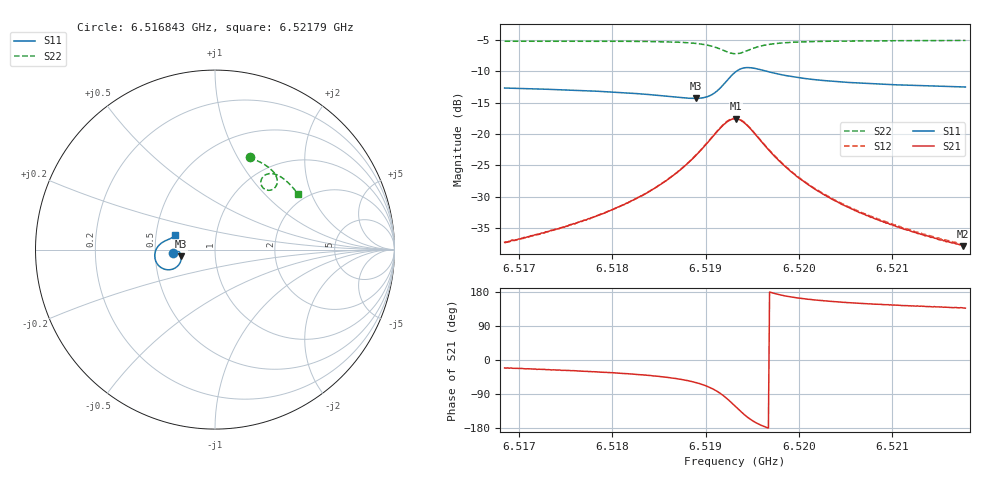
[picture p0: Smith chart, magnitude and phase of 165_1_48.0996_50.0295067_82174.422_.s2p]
#  HZ  S  RI  R  50.00
! Rohde & Schwarz Vector Network Analyzer
! Rohde-Schwarz,ZNB20-2Port,1311601062101988,3.16
! Created: UTC 12/23/2023, 3:51:11 AM
! freq[Hz]  re:S11  im:S11  re:S21  im:S21  re:S12  im:S12  re:S22  im:S22
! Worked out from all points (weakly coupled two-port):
!   401 points, 6.516843 GHz to 6.52179 GHz, reference 50 ohm
!   highest |S21| = -17.58 dB at 6.519329 GHz (marker M1); lowest = -37.9 dB at 6.521765 GHz (marker M2)
!   lowest |S11| = -14.3 dB at 6.518896 GHz (marker M3), VSWR 1.47, Z = 34.1 - j2.57 ohm
!   |S11| at or under -10 dB: start of sweep to 6.519333 GHz; 6.519655 GHz to end of sweep
!   |S22| runs from -7.2 to -5.1 dB; largest |S21 - S12| = 0.0041
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6.5168432e9  -0.2313 -0.0201  0.0128 -0.00488  0.0128 -0.00438  0.1923 0.5132
6.517239e9  -0.2272 -0.0141  0.0147 -0.0068  0.0148 -0.00617  0.2216 0.5016
6.5176718e9  -0.2216 -0.00864  0.0175 -0.00985  0.0179 -0.00934  0.2534 0.4863
6.5180552e9  -0.2145 -0.0061  0.0215 -0.0148  0.0217 -0.0141  0.2821 0.4694
6.5183396e9  -0.2075 -0.00703  0.0253 -0.021  0.026 -0.0202  0.3039 0.4536
6.5185004e9  -0.2024 -0.0099  0.0282 -0.0267  0.0293 -0.0258  0.3166 0.4426
6.5186982e9  -0.1952 -0.0178  0.032 -0.0376  0.0334 -0.0369  0.3317 0.4247
6.5188961e9  -0.1884 -0.0363  0.0342 -0.058  0.036 -0.0572  0.3446 0.3983
6.5190074e9  -0.1889 -0.0558  0.0304 -0.077  0.033 -0.0765  0.3469 0.3771
6.519094e9  -0.1968 -0.0773  0.0199 -0.0963  0.0229 -0.0964  0.3416 0.3569
6.5192176e9  -0.2357 -0.1087  -0.0196 -0.1211  -0.0162 -0.1226  0.3121 0.332
6.5193166e9  -0.2911 -0.1053  -0.0694 -0.1125  -0.0666 -0.1155  0.2742 0.3385
6.5193289e9  -0.2979 -0.1018  -0.0749 -0.1089  -0.0722 -0.1119  0.2702 0.3416
6.5194402e9  -0.3341 -0.0512  -0.1015 -0.0609  -0.1005 -0.0645  0.2561 0.3811
6.5196505e9  -0.3162 0.0196  -0.0786 -0.00354  -0.0791 -0.0059  0.2923 0.4211
6.5198854e9  -0.2866 0.044  -0.0513 0.0111  -0.0522 0.00966  0.3306 0.4211
6.5201451e9  -0.2669 0.0535  -0.0351 0.0134  -0.0358 0.0124  0.3596 0.4093
6.520479e9  -0.2519 0.06  -0.0241 0.0126  -0.0248 0.0121  0.3868 0.3907
6.5209737e9  -0.2382 0.0675  -0.0157 0.0109  -0.0163 0.0105  0.4185 0.3615
6.5213323e9  -0.231 0.0725  -0.0123 0.00974  -0.0128 0.00951  0.4383 0.34
6.5217652e9  -0.2236 0.0785  -0.00937 0.00864  -0.0099 0.00862  0.4594 0.3132
6.5217899e9  -0.2232 0.0786  -0.00936 0.00877  -0.00976 0.00858  0.4605 0.3117
